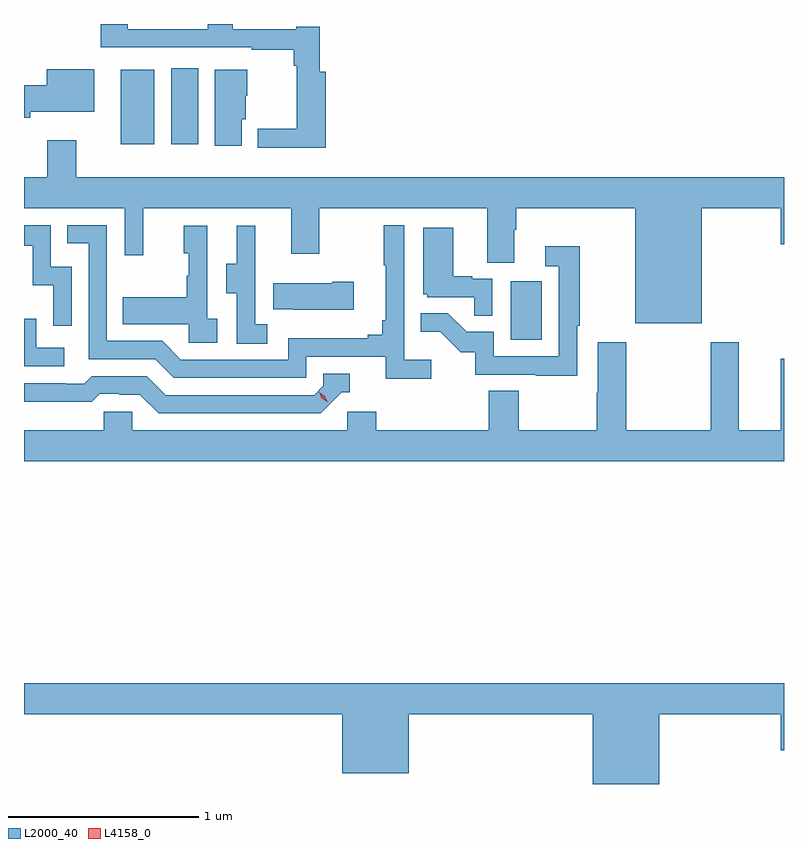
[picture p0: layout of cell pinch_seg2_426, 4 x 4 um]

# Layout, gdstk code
import gdstk
lib = gdstk.Library(unit=1e-6, precision=1e-09)
def R(c, l, rs):  # rectangles x0, y0, x1, y1
    for r in rs: c.add(gdstk.rectangle(r[:2], r[2:], *l))
def P(c, l, *ps):  # polygons
    for p in ps: c.add(gdstk.Polygon(p, *l))
L2000_40 = (2000, 40)
L4158_0 = (4158, 0)

pinch_seg2_426 = lib.new_cell('pinch_seg2_426')
R(pinch_seg2_426, L2000_40, [(930.818,618.972,930.982,619.279), (928.766,620,928.942,620.392), (929.03,620,929.173,620.401)])
P(pinch_seg2_426, L2000_40, [(929.843,620.383),(929.813,620.383),(929.813,620.62),(929.69,620.62),(929.69,620.607),(929.355,620.607),(929.355,620.634),(929.223,620.634),(929.223,620.607),(928.803,620.607),(928.803,620.634),(928.659,620.634),(928.659,620.511),(929.455,620.511),(929.455,620.499),(929.677,620.499),(929.677,620.414),(929.692,620.414),(929.692,620.084),(929.487,620.084),(929.487,619.982),(929.843,619.982)],
  [(928.29,620.171),(928.627,620.171),(928.627,620.395),(928.376,620.395),(928.376,620.312),(928.256,620.312),(928.256,620.14),(928.29,620.14)],
  [(929.401,620.133),(929.422,620.133),(929.422,620.256),(929.431,620.256),(929.431,620.392),(929.261,620.392),(929.261,619.992),(929.401,619.992)],
  [(931.822,619.664),(932.24,619.664),(932.24,619.476),(932.256,619.476),(932.256,619.828),(928.531,619.828),(928.531,620.023),(928.379,620.023),(928.379,619.828),(928.256,619.828),(928.256,619.664),(928.785,619.664),(928.785,619.416),(928.883,619.416),(928.883,619.664),(929.663,619.664),(929.663,619.425),(929.811,619.425),(929.811,619.664),(930.695,619.664),(930.695,619.378),(930.835,619.378),(930.835,619.552),(930.848,619.552),(930.848,619.664),(931.472,619.664),(931.472,619.058),(931.822,619.058)],
  [(930.4,618.868),(930.258,618.868),(930.258,619.576),(930.15,619.576),(930.15,619.363),(930.161,619.363),(930.161,619.075),(930.142,619.075),(930.142,618.998),(930.065,618.998),(930.065,618.979),(929.646,618.979),(929.646,618.867),(929.082,618.867),(928.983,618.966),(928.692,618.966),(928.692,619.575),(928.483,619.575),(928.483,619.479),(928.596,619.479),(928.596,618.87),(928.946,618.87),(929.045,618.771),(929.742,618.771),(929.742,618.882),(930.161,618.882),(930.161,618.766),(930.4,618.766)],
  [(928.506,619.356),(928.398,619.356),(928.398,619.575),(928.256,619.575),(928.256,619.467),(928.301,619.467),(928.301,619.259),(928.41,619.259),(928.41,619.047),(928.506,619.047)],
  [(929.536,619.055),(929.472,619.055),(929.472,619.359),(929.474,619.359),(929.474,619.573),(929.375,619.573),(929.375,619.371),(929.321,619.371),(929.321,619.216),(929.376,619.216),(929.376,618.952),(929.536,618.952)],
  [(929.272,619.082),(929.22,619.082),(929.22,619.573),(929.096,619.573),(929.096,619.428),(929.122,619.428),(929.122,619.31),(929.112,619.31),(929.112,619.195),(928.777,619.195),(928.777,619.055),(929.124,619.055),(929.124,618.957),(929.272,618.957)],
  [(930.72,619.293),(930.614,619.293),(930.614,619.306),(930.514,619.306),(930.514,619.561),(930.356,619.561),(930.356,619.212),(930.378,619.212),(930.378,619.197),(930.625,619.197),(930.625,619.099),(930.72,619.099)],
  [(931.167,619.045),(931.18,619.045),(931.18,619.465),(930.999,619.465),(930.999,619.359),(931.071,619.359),(931.071,618.885),(930.729,618.885),(930.729,619.014),(930.585,619.014),(930.487,619.112),(930.343,619.112),(930.343,619.013),(930.447,619.013),(930.554,618.906),(930.631,618.906),(930.631,618.789),(930.949,618.789),(930.949,618.784),(931.167,618.784)],
  [(929.992,619.278),(929.879,619.278),(929.879,619.27),(929.569,619.27),(929.569,619.133),(929.677,619.133),(929.677,619.13),(929.992,619.13)],
  [(928.468,618.93),(928.32,618.93),(928.32,619.084),(928.256,619.084),(928.256,618.834),(928.468,618.834)],
  [(932.256,618.871),(932.24,618.871),(932.24,618.496),(932.017,618.496),(932.017,618.958),(931.87,618.958),(931.87,618.496),(931.425,618.496),(931.425,618.958),(931.277,618.958),(931.277,618.692),(931.27,618.692),(931.27,618.496),(930.861,618.496),(930.861,618.704),(930.701,618.704),(930.701,618.496),(930.11,618.496),(930.11,618.594),(929.958,618.594),(929.958,618.496),(928.827,618.496),(928.827,618.594),(928.677,618.594),(928.677,618.496),(928.256,618.496),(928.256,618.332),(932.256,618.332)],
  [(929.928,618.696),(929.971,618.696),(929.971,618.792),(929.832,618.792),(929.832,618.729),(929.784,618.681),(929.001,618.681),(928.902,618.78),(928.613,618.78),(928.574,618.741),(928.475,618.741),(928.475,618.744),(928.256,618.744),(928.256,618.647),(928.38,618.647),(928.38,618.645),(928.613,618.645),(928.655,618.687),(928.758,618.687),(928.758,618.684),(928.865,618.684),(928.964,618.585),(929.817,618.585)],
  [(931.6,617),(932.24,617),(932.24,616.812),(932.256,616.812),(932.256,617.164),(928.256,617.164),(928.256,617),(929.93,617),(929.93,616.691),(930.28,616.691),(930.28,617),(931.25,617),(931.25,616.634),(931.6,616.634)])
P(pinch_seg2_426, L4158_0, [(929.855,618.643),(929.824,618.663),(929.809,618.696),(929.809,618.696),(929.809,618.696),(929.84,618.676),(929.855,618.643),(929.855,618.643)])

lib.write_gds('pinch_seg2_426.gds')
